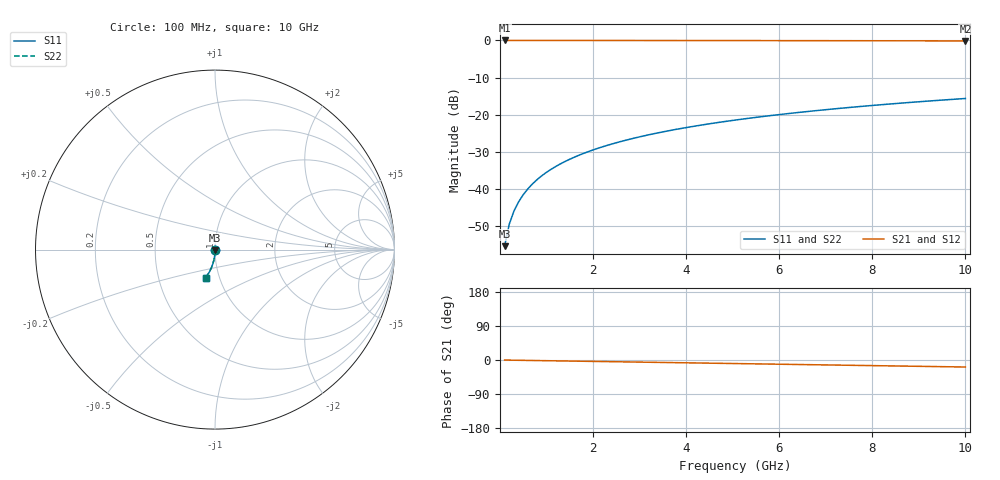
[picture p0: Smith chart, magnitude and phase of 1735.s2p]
# Hz S RI R 50.00
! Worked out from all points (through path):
!   100 points, 100 MHz to 10 GHz, reference 50 ohm
!   highest |S21| = 0.00 dB at 100 MHz (marker M1); lowest = -0.1 dB at 10 GHz (marker M2)
!   group delay of S21, straight-line fit = 5.15 ps
!   lowest |S11| = -55.3 dB at 100 MHz (marker M3), VSWR 1.00, Z = 50 - j0.168 ohm
!   |S11| at or under -10 dB: start of sweep to end of sweep
!   |S22| runs from -55.3 to -15.6 dB; largest |S21 - S12| = 0
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1e8  0.000295 -0.00168  0.9997 -0.00323  0.9997 -0.00323  0.000295 -0.00168
2e8  0.000278 -0.00337  0.9997 -0.00646  0.9997 -0.00646  0.000278 -0.00337
3e8  0.00025 -0.00505  0.9996 -0.00968  0.9996 -0.00968  0.00025 -0.00505
4e8  0.000211 -0.00673  0.9996 -0.0129  0.9996 -0.0129  0.000211 -0.00673
5e8  0.000161 -0.00842  0.9995 -0.0161  0.9995 -0.0161  0.000161 -0.00842
6e8  9.99e-05 -0.0101  0.9994 -0.0194  0.9994 -0.0194  9.99e-05 -0.0101
7e8  2.77e-05 -0.0118  0.9993 -0.0226  0.9993 -0.0226  2.77e-05 -0.0118
8e8  -5.54e-05 -0.0135  0.9992 -0.0258  0.9992 -0.0258  -5.54e-05 -0.0135
9e8  -0.000149 -0.0151  0.9991 -0.0291  0.9991 -0.0291  -0.000149 -0.0151
1.1e9  -0.00037 -0.0185  0.9989 -0.0355  0.9989 -0.0355  -0.00037 -0.0185
1.4e9  -0.000783 -0.0236  0.9984 -0.0452  0.9984 -0.0452  -0.000783 -0.0236
1.8e9  -0.00149 -0.0303  0.9975 -0.0581  0.9975 -0.0581  -0.00149 -0.0303
2.1e9  -0.00213 -0.0353  0.9967 -0.0677  0.9967 -0.0677  -0.00213 -0.0353
2.5e9  -0.00313 -0.042  0.9955 -0.0806  0.9955 -0.0806  -0.00313 -0.042
2.9e9  -0.00431 -0.0486  0.994 -0.0935  0.994 -0.0935  -0.00431 -0.0486
3.4e9  -0.00603 -0.0569  0.9919 -0.1095  0.9919 -0.1095  -0.00603 -0.0569
4.2e9  -0.00934 -0.07  0.9879 -0.135  0.9879 -0.135  -0.00934 -0.07
5.1e9  -0.0139 -0.0845  0.9823 -0.1636  0.9823 -0.1636  -0.0139 -0.0845
5.9e9  -0.0186 -0.0972  0.9765 -0.1887  0.9765 -0.1887  -0.0186 -0.0972
6.7e9  -0.024 -0.1096  0.9699 -0.2136  0.9699 -0.2136  -0.024 -0.1096
8.4e9  -0.0374 -0.1349  0.9533 -0.2656  0.9533 -0.2656  -0.0374 -0.1349
1e10  -0.0525 -0.1571  0.9345 -0.313  0.9345 -0.313  -0.0525 -0.1571
